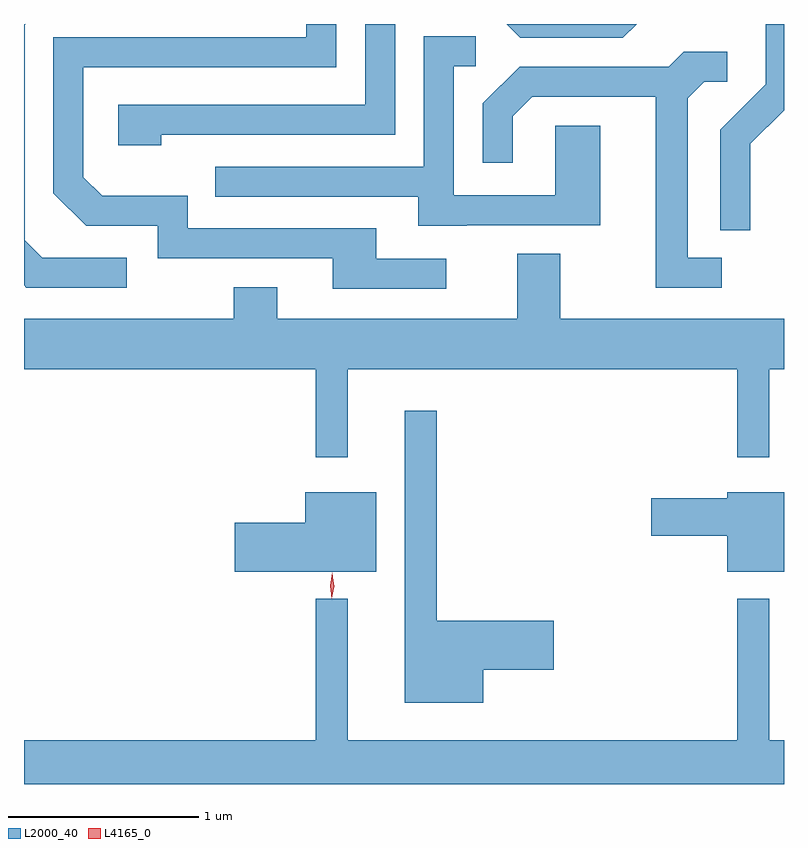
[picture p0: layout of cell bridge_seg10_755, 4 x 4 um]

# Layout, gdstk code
import gdstk
lib = gdstk.Library(unit=1e-6, precision=1e-09)
def P(c, l, *ps):  # polygons
    for p in ps: c.add(gdstk.Polygon(p, *l))
L2000_40 = (2000, 40)
L4165_0 = (4165, 0)

bridge_seg10_755 = lib.new_cell('bridge_seg10_755')
P(bridge_seg10_755, L2000_40, [(544.398,2178.884),(543.952,2178.884),(543.859,2178.977),(543.859,2180.109),(543.864,2180.114),(543.856,2180.114),(543.856,2178.739),(543.869,2178.726),(544.398,2178.726)],
  [(546.078,2178.879),(545.709,2178.879),(545.709,2179.039),(544.719,2179.039),(544.719,2179.209),(544.267,2179.209),(544.169,2179.307),(544.169,2179.886),(545.499,2179.886),(545.499,2180.114),(545.341,2180.114),(545.341,2180.044),(544.011,2180.044),(544.011,2179.224),(544.184,2179.051),(544.561,2179.051),(544.561,2178.881),(545.481,2178.881),(545.481,2178.721),(546.078,2178.721)],
  [(547.679,2179.484),(547.856,2179.661),(547.856,2180.114),(547.761,2180.114),(547.761,2179.797),(547.521,2179.557),(547.521,2179.028),(547.679,2179.028)],
  [(547.08,2180.114),(546.396,2180.114),(546.469,2180.041),(547.007,2180.041)],
  [(544.579,2179.531),(545.809,2179.531),(545.809,2180.114),(545.651,2180.114),(545.651,2179.689),(544.351,2179.689),(544.351,2179.476),(544.579,2179.476)],
  [(546.185,2179.056),(546.889,2179.056),(546.889,2179.579),(546.651,2179.579),(546.651,2179.214),(546.119,2179.214),(546.119,2179.891),(546.233,2179.891),(546.233,2180.049),(545.961,2180.049),(545.961,2179.364),(544.863,2179.364),(544.863,2179.206),(545.931,2179.206),(545.931,2179.051),(546.185,2179.051)],
  [(547.528,2178.884),(547.349,2178.884),(547.349,2179.724),(547.437,2179.811),(547.558,2179.811),(547.558,2179.969),(547.329,2179.969),(547.249,2179.889),(546.464,2179.889),(546.271,2179.697),(546.271,2179.383),(546.429,2179.383),(546.429,2179.629),(546.532,2179.731),(547.181,2179.731),(547.181,2178.726),(547.528,2178.726)],
  [(545.559,2178.296),(547.611,2178.296),(547.611,2177.833),(547.779,2177.833),(547.779,2178.296),(547.856,2178.296),(547.856,2178.564),(546.679,2178.564),(546.679,2178.904),(546.451,2178.904),(546.451,2178.564),(545.189,2178.564),(545.189,2178.729),(544.961,2178.729),(544.961,2178.564),(543.856,2178.564),(543.856,2178.296),(545.391,2178.296),(545.391,2177.833),(545.559,2177.833)],
  [(546.274,2176.716),(546.644,2176.716),(546.644,2176.974),(546.029,2176.974),(546.029,2178.078),(545.861,2178.078),(545.861,2176.541),(546.274,2176.541)],
  [(547.856,2177.649),(547.556,2177.649),(547.556,2177.619),(547.156,2177.619),(547.156,2177.421),(547.556,2177.421),(547.556,2177.231),(547.856,2177.231)],
  [(545.709,2177.649),(545.336,2177.649),(545.336,2177.489),(544.966,2177.489),(544.966,2177.231),(545.709,2177.231)],
  [(547.856,2176.344),(547.779,2176.344),(547.779,2177.088),(547.611,2177.088),(547.611,2176.344),(545.559,2176.344),(545.559,2177.088),(545.391,2177.088),(545.391,2176.344),(543.856,2176.344),(543.856,2176.114),(547.856,2176.114)])
P(bridge_seg10_755, L4165_0, [(545.476,2177.09),(545.467,2177.158),(545.478,2177.225),(545.478,2177.226),(545.479,2177.225),(545.487,2177.158),(545.477,2177.09),(545.477,2177.09)],
  [(545.476,2177.093),(545.468,2177.156),(545.478,2177.219),(545.479,2177.22),(545.479,2177.219),(545.488,2177.156),(545.477,2177.093),(545.477,2177.093)])

lib.write_gds('bridge_seg10_755.gds')
